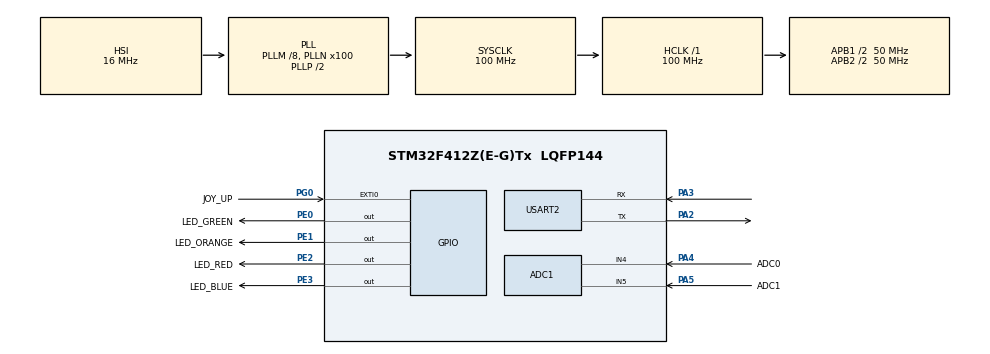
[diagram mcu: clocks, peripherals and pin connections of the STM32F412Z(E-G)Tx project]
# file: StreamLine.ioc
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ADC1.Channel-0\#ChannelRegularConversion=ADC_CHANNEL_TEMPSENSOR
ADC1.Channel-6\#ChannelRegularConversion=ADC_CHANNEL_4
ADC1.Channel-7\#ChannelRegularConversion=ADC_CHANNEL_5
ADC1.ContinuousConvMode=DISABLE
ADC1.DiscontinuousConvMode=DISABLE
ADC1.InjNumberOfConversion=0
ADC1.NbrOfConversion=3
ADC1.NbrOfConversionFlag=1
ADC1.Rank-0\#ChannelRegularConversion=1
ADC1.Rank-6\#ChannelRegularConversion=2
ADC1.Rank-7\#ChannelRegularConversion=3
ADC1.SamplingTime-0\#ChannelRegularConversion=ADC_SAMPLETIME_112CYCLES
ADC1.SamplingTime-6\#ChannelRegularConversion=ADC_SAMPLETIME_112CYCLES
ADC1.SamplingTime-7\#ChannelRegularConversion=ADC_SAMPLETIME_112CYCLES
ADC1.master=1
Dma.ADC1.0.Direction=DMA_PERIPH_TO_MEMORY
Dma.ADC1.0.FIFOMode=DMA_FIFOMODE_DISABLE
Dma.ADC1.0.Instance=DMA2_Stream0
Dma.ADC1.0.MemDataAlignment=DMA_MDATAALIGN_WORD
Dma.ADC1.0.MemInc=DMA_MINC_ENABLE
Dma.ADC1.0.Mode=DMA_NORMAL
Dma.ADC1.0.PeriphDataAlignment=DMA_PDATAALIGN_WORD
Dma.ADC1.0.PeriphInc=DMA_PINC_DISABLE
Dma.ADC1.0.Priority=DMA_PRIORITY_LOW
Dma.Request0=ADC1
FREERTOS.Tasks01=defaultTask,0,128,StartDefaultTask,Default,NULL,Dynamic,NULL,NULL;CmdHandlerTask,0,128,StartTask_CmdHandler,Default,NULL,Dynamic,NULL,NULL;StreamDataTask,2,128,StartTask_StreamData,Default,NULL,Dynamic,NULL,NULL;ReadGpioTask,0,128,StartTask_ReadGpio,Default,NULL,Dynamic,NULL,NULL;ReadTempTask,0,256,StartTask_ReadTemp,Default,NULL,Dynamic,NULL,NULL
FREERTOS.configUSE_STATS_FORMATTING_FUNCTIONS=1
FREERTOS.configUSE_TRACE_FACILITY=1
Mcu.Family=STM32F4
Mcu.Name=STM32F412Z(E-G)Tx
Mcu.Package=LQFP144
NVIC.DMA2_Stream0_IRQn=true\:5\:0\:false\:false\:true\:true\:false\:true\:true
NVIC.EXTI0_IRQn=true\:5\:0\:false\:false\:true\:true\:true\:true\:true
NVIC.PriorityGroup=NVIC_PRIORITYGROUP_4
NVIC.TIM1_UP_TIM10_IRQn=true\:5\:0\:false\:false\:true\:true\:true\:true\:true
NVIC.USART2_IRQn=true\:5\:0\:false\:false\:true\:true\:true\:true\:true
PA13.Mode=Serial_Wire
PA13.Signal=SYS_JTMS-SWDIO
PA14.Mode=Serial_Wire
PA14.Signal=SYS_JTCK-SWCLK
PA2.Mode=Asynchronous
PA2.Signal=USART2_TX
PA3.Mode=Asynchronous
PA3.Signal=USART2_RX
PA4.GPIO_Label=ADC0
PA4.Signal=ADCx_IN4
PA5.GPIO_Label=ADC1
PA5.Signal=ADCx_IN5
PE0.GPIO_Label=LED_GREEN
PE0.Signal=GPIO_Output
PE1.GPIO_Label=LED_ORANGE
PE1.Signal=GPIO_Output
PE2.GPIO_Label=LED_RED
PE2.Signal=GPIO_Output
PE3.GPIO_Label=LED_BLUE
PE3.Signal=GPIO_Output
PG0.GPIO_Label=JOY_UP
PG0.Signal=GPXTI0
ProjectManager.HeapSize=0x200
ProjectManager.StackSize=0x400
ProjectManager.TargetToolchain=STM32CubeIDE
RCC.AHBFreq_Value=100000000
RCC.APB1CLKDivider=RCC_HCLK_DIV2
RCC.APB1Freq_Value=50000000
RCC.APB1TimFreq_Value=100000000
RCC.APB2CLKDivider=RCC_HCLK_DIV2
RCC.APB2Freq_Value=50000000
RCC.APB2TimFreq_Value=100000000
RCC.CortexFreq_Value=100000000
RCC.HCLKFreq_Value=100000000
RCC.PLLM=8
RCC.PLLN=100
RCC.SYSCLKFreq_VALUE=100000000
RCC.SYSCLKSource=RCC_SYSCLKSOURCE_PLLCLK
RCC.USBFreq_Value=100000000
RCC.VCOOutputFreq_Value=200000000
SH.ADCx_IN4.0=ADC1_IN4,IN4
SH.ADCx_IN5.0=ADC1_IN5,IN5
TIM10.AutoReloadPreload=TIM_AUTORELOAD_PRELOAD_ENABLE
TIM10.Period=9999
TIM10.Prescaler=9999
USART2.VirtualMode=VM_ASYNC
VP_ADC1_TempSens_Input.Mode=IN-TempSens
VP_FREERTOS_VS_CMSIS_V1.Mode=CMSIS_V1
VP_TIM10_VS_ClockSourceINT.Mode=Enable_Timer
board=custom

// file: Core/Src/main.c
/* USER CODE BEGIN Header */
/**
  ******************************************************************************
  * @file           : main.c
  * @brief          : Main program body
  ******************************************************************************
  * @attention
  *
  * Copyright (c) 2022 STMicroelectronics.
  * All rights reserved.
  *
  * This software is licensed under terms that can be found in the LICENSE file
  * in the root directory of this software component.
  * If no LICENSE file comes with this software, it is provided AS-IS.
  *
  ******************************************************************************
  */
/* USER CODE END Header */
#include "main.h"
#include "cmsis_os.h"
#include "adc.h"
#include "dma.h"
#include "tim.h"
#include "usart.h"
#include "gpio.h"

/* USER CODE BEGIN PD */
volatile CircularBuffer pCirBuf;
volatile char pTxAns[63] = {0}; // 13 for data & 50 for footer
volatile dataStruct     sharedStreamData = {0};
volatile dataStruct     txStream = {0};
volatile uint32_t adcVals[3] = {0};
/* USER CODE END PD */

void SystemClock_Config(void);
void MX_FREERTOS_Init(void);

int main(void)
{

  /* MCU Configuration--------------------------------------------------------*/

  /* Reset of all peripherals, Initializes the Flash interface and the Systick. */
  HAL_Init();

  /* Configure the system clock */
  SystemClock_Config();

  /* Initialize all configured peripherals */
  MX_GPIO_Init();
  MX_DMA_Init();
  MX_USART2_UART_Init();
  MX_ADC1_Init();
  MX_TIM10_Init();
  /* USER CODE BEGIN 2 */

  pCirBuf  = CircularBuffer_Create(RECORD_COUNT, RECORD_SIZE);
  HAL_UART_Receive_IT (&huart2, &gTermByte, sizeof(uint8_t));
  HAL_ADC_Start_DMA(&hadc1,adcVals,3);

  // Init dataStruct
  memcpy(sharedStreamData.adc0.id, (char*)HANDLER_ADC0, sizeof(sharedStreamData.adc0.id));
  sharedStreamData.adc0.sep1    = ',';
  sharedStreamData.adc0.upd     = HANDLER_ENABLE;
  sharedStreamData.adc0.sep2    = ',';
  memset(sharedStreamData.adc0.data, '0', sizeof(sharedStreamData.adc0.data));
  sharedStreamData.adc0.end[0]  = '\n';
  sharedStreamData.adc0.end[1]  = '\r';

  memcpy(sharedStreamData.adc1.id, (char*)HANDLER_ADC1, sizeof(sharedStreamData.adc1.id));
  sharedStreamData.adc1.sep1    = ',';
  sharedStreamData.adc1.upd     = HANDLER_ENABLE;
  sharedStreamData.adc1.sep2    = ',';
  memset(sharedStreamData.adc1.data, '0', sizeof(sharedStreamData.adc1.data));
  sharedStreamData.adc1.end[0]  = '\n';
  sharedStreamData.adc1.end[1]  = '\r';

  memcpy(sharedStreamData.led0.id, (char*)HANDLER_LED0, sizeof(sharedStreamData.led0.id));
  sharedStreamData.led0.sep1   = ',';
  sharedStreamData.led0.upd    = HANDLER_ENABLE;
  sharedStreamData.led0.sep2   = ',';
  memcpy(sharedStreamData.led0.data, (char*)HANDLER_ON, sizeof(sharedStreamData.led0.data));
  sharedStreamData.led0.end[0] = '\n';
  sharedStreamData.led0.end[1] = '\r';

  memcpy(sharedStreamData.led1.id, (char*)HANDLER_LED1, sizeof(sharedStreamData.led1.id));
  sharedStreamData.led1.sep1   = ',';
  sharedStreamData.led1.upd    = HANDLER_ENABLE;
  sharedStreamData.led1.sep2   = ',';
  memcpy(sharedStreamData.led1.data, (char*)HANDLER_ON, sizeof(sharedStreamData.led1.data));
  sharedStreamData.led1.end[0] = '\n';
  sharedStreamData.led1.end[1] = '\r';

  memcpy(sharedStreamData.led2.id, (char*)HANDLER_LED2, sizeof(sharedStreamData.led2.id));
  sharedStreamData.led2.sep1   = ',';
  sharedStreamData.led2.upd    = HANDLER_ENABLE;
  sharedStreamData.led2.sep2   = ',';
  memcpy(sharedStreamData.led2.data, (char*)HANDLER_ON, sizeof(sharedStreamData.led2.data));
  sharedStreamData.led2.end[0] = '\n';
  sharedStreamData.led2.end[1] = '\r';

  memcpy(sharedStreamData.led3.id, (char*)HANDLER_LED3, sizeof(sharedStreamData.led3.id));
  sharedStreamData.led3.sep1   = ',';
  sharedStreamData.led3.upd    = HANDLER_ENABLE;
  sharedStreamData.led3.sep2   = ',';
  memcpy(sharedStreamData.led3.data, (char*)HANDLER_ON, sizeof(sharedStreamData.led3.data));
  sharedStreamData.led3.end[0] = '\n';
  sharedStreamData.led3.end[1] = '\r';

  memcpy(sharedStreamData.btn0.id, (char*)HANDLER_BTN0, sizeof(sharedStreamData.btn0.id));
  sharedStreamData.btn0.sep1   = ',';
  sharedStreamData.btn0.upd    = HANDLER_ENABLE;
  sharedStreamData.btn0.sep2   = ',';
  memcpy(sharedStreamData.btn0.data, (char*)HANDLER_OFF, sizeof(sharedStreamData.btn0.data));
  sharedStreamData.btn0.end[0] = '\n';
  sharedStreamData.btn0.end[1] = '\r';

  memcpy(sharedStreamData.hld0.id, (char*)HANDLER_HLD0, sizeof(sharedStreamData.hld0.id));
  sharedStreamData.hld0.sep1   = ',';
  sharedStreamData.hld0.upd    = HANDLER_ENABLE;
  sharedStreamData.hld0.sep2   = ',';
  memcpy(sharedStreamData.hld0.data, (char*)HANDLER_OFF, sizeof(sharedStreamData.hld0.data));
  sharedStreamData.hld0.end[0] = '\n';
  sharedStreamData.hld0.end[1] = '\r';

  memcpy(sharedStreamData.tmp0.id, (char*)HANDLER_TMP0, sizeof(sharedStreamData.tmp0.data));
  sharedStreamData.tmp0.sep1    = ',';
  sharedStreamData.tmp0.upd     = HANDLER_ENABLE;
  sharedStreamData.tmp0.sep2    = ',';
  memset(sharedStreamData.tmp0.data, '0', sizeof(sharedStreamData.tmp0.data));
  sharedStreamData.tmp0.end[0]  = '\n';
  sharedStreamData.tmp0.end[1]  = '\r';

  memset(sharedStreamData.end, '-', sizeof(sharedStreamData.end));
  sharedStreamData.end[48] = '\n';
  sharedStreamData.end[49] = '\r';

  /* USER CODE END 2 */

  /* Call init function for freertos objects (in freertos.c) */
  MX_FREERTOS_Init();

  /* Start scheduler */
  osKernelStart();

  /* We should never get here as control is now taken by the scheduler */
  /* Infinite loop */
  while (1)
  {

  }
}

void SystemClock_Config(void)
{
  RCC_OscInitTypeDef RCC_OscInitStruct = {0};
  RCC_ClkInitTypeDef RCC_ClkInitStruct = {0};

  /** Configure the main internal regulator output voltage
  */
  __HAL_RCC_PWR_CLK_ENABLE();
  __HAL_PWR_VOLTAGESCALING_CONFIG(PWR_REGULATOR_VOLTAGE_SCALE1);

  /** Initializes the RCC Oscillators according to the specified parameters
  * in the RCC_OscInitTypeDef structure.
  */
  RCC_OscInitStruct.OscillatorType = RCC_OSCILLATORTYPE_HSI;
  RCC_OscInitStruct.HSIState = RCC_HSI_ON;
  RCC_OscInitStruct.HSICalibrationValue = RCC_HSICALIBRATION_DEFAULT;
  RCC_OscInitStruct.PLL.PLLState = RCC_PLL_ON;
  RCC_OscInitStruct.PLL.PLLSource = RCC_PLLSOURCE_HSI;
  RCC_OscInitStruct.PLL.PLLM = 8;
  RCC_OscInitStruct.PLL.PLLN = 100;
  RCC_OscInitStruct.PLL.PLLP = RCC_PLLP_DIV2;
  RCC_OscInitStruct.PLL.PLLQ = 2;
  RCC_OscInitStruct.PLL.PLLR = 2;
  if (HAL_RCC_OscConfig(&RCC_OscInitStruct) != HAL_OK)
  {
    Error_Handler();
  }

  /** Initializes the CPU, AHB and APB buses clocks
  */
  RCC_ClkInitStruct.ClockType = RCC_CLOCKTYPE_HCLK|RCC_CLOCKTYPE_SYSCLK
                              |RCC_CLOCKTYPE_PCLK1|RCC_CLOCKTYPE_PCLK2;
  RCC_ClkInitStruct.SYSCLKSource = RCC_SYSCLKSOURCE_PLLCLK;
  RCC_ClkInitStruct.AHBCLKDivider = RCC_SYSCLK_DIV1;
  RCC_ClkInitStruct.APB1CLKDivider = RCC_HCLK_DIV2;
  RCC_ClkInitStruct.APB2CLKDivider = RCC_HCLK_DIV2;

  if (HAL_RCC_ClockConfig(&RCC_ClkInitStruct, FLASH_LATENCY_3) != HAL_OK)
  {
    Error_Handler();
  }
}

void Error_Handler(void)
{
  __disable_irq();
  while (1)
  {
  }
}

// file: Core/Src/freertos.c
/* USER CODE BEGIN Header */
/**
  ******************************************************************************
  * File Name          : freertos.c
  * Description        : Code for freertos applications
  ******************************************************************************
  * @attention
  *
  * Copyright (c) 2022 STMicroelectronics.
  * All rights reserved.
  *
  * This software is licensed under terms that can be found in the LICENSE file
  * in the root directory of this software component.
  * If no LICENSE file comes with this software, it is provided AS-IS.
  *
  ******************************************************************************
  */
/* USER CODE END Header */

#include "FreeRTOS.h"
#include "task.h"
#include "main.h"
#include "cmsis_os.h"

/* USER CODE BEGIN Includes */
#include "adc.h"
#include "usart.h"
/* USER CODE END Includes */

/* USER CODE BEGIN PTD */
#define V25 0.76
#define AVG_SLOPE .0025
#define VSENSE 3.3/4096
/* USER CODE END PTD */

osThreadId defaultTaskHandle;
osThreadId CmdHandlerTaskHandle;
osThreadId StreamDataTaskHandle;
osThreadId ReadGpioTaskHandle;
osThreadId ReadTempTaskHandle;

void StartDefaultTask(void const * argument);
void StartTask_CmdHandler(void const * argument);
void StartTask_StreamData(void const * argument);
void StartTask_ReadGpio(void const * argument);
void StartTask_ReadTemp(void const * argument);

void MX_FREERTOS_Init(void); /* (MISRA C 2004 rule 8.1) */

/* GetIdleTaskMemory prototype (linked to static allocation support) */
void vApplicationGetIdleTaskMemory( StaticTask_t **ppxIdleTaskTCBBuffer, StackType_t **ppxIdleTaskStackBuffer, uint32_t *pulIdleTaskStackSize );

/* USER CODE BEGIN GET_IDLE_TASK_MEMORY */
static StaticTask_t xIdleTaskTCBBuffer;
static StackType_t xIdleStack[configMINIMAL_STACK_SIZE];

void vApplicationGetIdleTaskMemory( StaticTask_t **ppxIdleTaskTCBBuffer, StackType_t **ppxIdleTaskStackBuffer, uint32_t *pulIdleTaskStackSize )
{
  *ppxIdleTaskTCBBuffer = &xIdleTaskTCBBuffer;
  *ppxIdleTaskStackBuffer = &xIdleStack[0];
  *pulIdleTaskStackSize = configMINIMAL_STACK_SIZE;
  /* place for user code */
}
/* USER CODE END GET_IDLE_TASK_MEMORY */

void MX_FREERTOS_Init(void) {

  /* Create the thread(s) */
  /* definition and creation of defaultTask */
  osThreadDef(defaultTask, StartDefaultTask, osPriorityNormal, 0, 128);
  defaultTaskHandle = osThreadCreate(osThread(defaultTask), NULL);

  /* definition and creation of CmdHandlerTask */
  osThreadDef(CmdHandlerTask, StartTask_CmdHandler, osPriorityNormal, 0, 128);
  CmdHandlerTaskHandle = osThreadCreate(osThread(CmdHandlerTask), NULL);

  /* definition and creation of StreamDataTask */
  osThreadDef(StreamDataTask, StartTask_StreamData, osPriorityHigh, 0, 128);
  StreamDataTaskHandle = osThreadCreate(osThread(StreamDataTask), NULL);

  /* definition and creation of ReadGpioTask */
  osThreadDef(ReadGpioTask, StartTask_ReadGpio, osPriorityNormal, 0, 128);
  ReadGpioTaskHandle = osThreadCreate(osThread(ReadGpioTask), NULL);

  /* definition and creation of ReadTempTask */
  osThreadDef(ReadTempTask, StartTask_ReadTemp, osPriorityNormal, 0, 256);
  ReadTempTaskHandle = osThreadCreate(osThread(ReadTempTask), NULL);

}

void StartDefaultTask(void const * argument)
{
  /* USER CODE BEGIN StartDefaultTask */
  /* Infinite loop */
    /* Infinite loop */
    for(;;)
    {
        osDelay(10);
    }
  /* USER CODE END StartDefaultTask */
}

void StartTask_CmdHandler(void const * argument)
{
  /* USER CODE BEGIN StartTask_CmdHandler */
  /* Infinite loop */
  for(;;)
  {
      // Get command
      uint8_t pTemp[RECORD_SIZE] = {0};
      int status = CircularBuffer_Get(pCirBuf, pTemp);

      // If exist -> parse command -> enable/disable stuff
      if (status)
      {
          Handler_ParseCommand(pTemp, sizeof(pTemp));
      }
      osDelay(1000);
  }
  /* USER CODE END StartTask_CmdHandler */
}

void StartTask_StreamData(void const * argument)
{
  /* USER CODE BEGIN StartTask_StreamData */
  /* Infinite loop */
  for(;;)
  {
      vTaskList(sharedStreamData.thrd);
      memcpy((uint8_t*)&txStream, (uint8_t*)&sharedStreamData, sizeof(txStream));
      memcpy(sharedStreamData.btn0.data, (char*)HANDLER_OFF, sizeof(sharedStreamData.btn0.data));
      memcpy(sharedStreamData.hld0.data, (char*)HANDLER_OFF, sizeof(sharedStreamData.hld0.data));
      HAL_UART_Transmit_IT(&huart2, (uint8_t*)&txStream, sizeof(txStream));
      osDelay(1000);
  }
  /* USER CODE END StartTask_StreamData */
}

void StartTask_ReadGpio(void const * argument)
{
  /* USER CODE BEGIN StartTask_ReadGpio */
  /* Infinite loop */
  for(;;)
  {
      if (sharedStreamData.led0.upd == HANDLER_ENABLE)
      {
          Handler_ReadLed(LED_BLUE_GPIO_Port, LED_BLUE_Pin, sharedStreamData.led0.data);
      }

      if (sharedStreamData.led1.upd == HANDLER_ENABLE)
      {
          Handler_ReadLed(LED_RED_GPIO_Port, LED_RED_Pin, sharedStreamData.led1.data);
      }

      if (sharedStreamData.led2.upd == HANDLER_ENABLE)
      {
          Handler_ReadLed(LED_ORANGE_GPIO_Port, LED_ORANGE_Pin, sharedStreamData.led2.data);
      }

      if (sharedStreamData.led3.upd == HANDLER_ENABLE)
      {
          Handler_ReadLed(LED_GREEN_GPIO_Port, LED_GREEN_Pin, sharedStreamData.led3.data);
      }

      osDelay(100);
  }
  /* USER CODE END StartTask_ReadGpio */
}

void StartTask_ReadTemp(void const * argument)
{
  /* USER CODE BEGIN StartTask_ReadTemp */
  /* Infinite loop */
  for(;;)
  {
      float tCelsius = 0;
      char temp0[10] = {0};
      char temp1[5]  = {0};
      char temp2[5]  = {0};

      // Calculate temp
      tCelsius = ((VSENSE*(uint16_t)adcVals[0] - V25) / AVG_SLOPE) + 25;

      if (sharedStreamData.tmp0.upd == HANDLER_ENABLE)
      {
          snprintf(temp0, sizeof(temp0), "%f", tCelsius);
          memcpy(&sharedStreamData.tmp0.data, &temp0, sizeof(temp0));
      }

      if (sharedStreamData.adc0.upd == HANDLER_ENABLE)
      {
          snprintf(temp1, sizeof(temp1), "%d", (uint16_t)adcVals[1]);
          memcpy(&sharedStreamData.adc0.data[0], &temp1, sizeof(temp1));
      }

      if (sharedStreamData.adc1.upd == HANDLER_ENABLE)
      {
          snprintf(temp2, sizeof(temp2), "%d", (uint16_t)adcVals[2]);
          memcpy(&sharedStreamData.adc1.data[0], &temp2, sizeof(temp2));
      }
      HAL_ADC_Start_DMA(&hadc1,adcVals,3);
      osDelay(500);
  }
  /* USER CODE END StartTask_ReadTemp */
}
